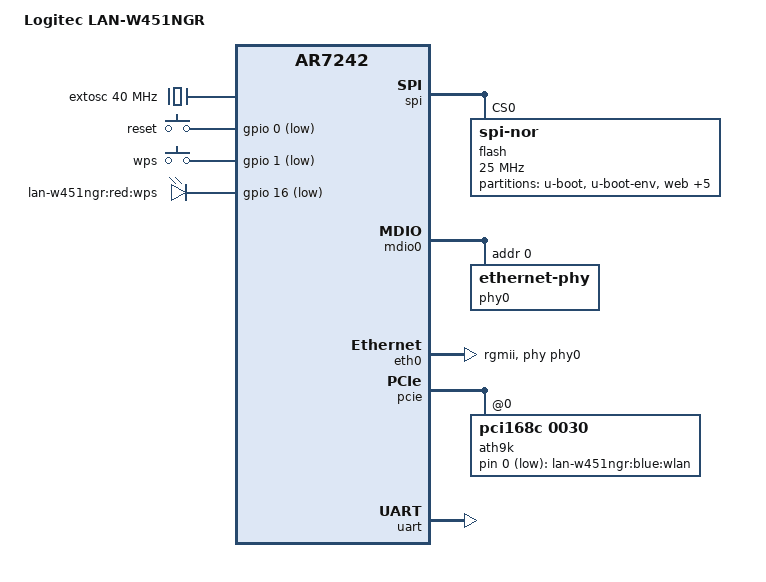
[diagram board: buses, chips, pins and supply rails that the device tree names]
// SPDX-License-Identifier: GPL-2.0-or-later OR MIT
/dts-v1/;

#include <dt-bindings/gpio/gpio.h>
#include <dt-bindings/input/input.h>

#include "ar7242.dtsi"

/ {
	compatible = "logitec,lan-w451ngr", "qca,ar7242";
	model = "Logitec LAN-W451NGR";

	aliases {
		led-boot = &wps;
		led-failsafe = &wps;
		led-upgrade = &wps;
	};

	extosc: ref {
		compatible = "fixed-clock";
		#clock-cells = <0>;
		clock-frequency = <40000000>;
	};

	keys {
		compatible = "gpio-keys";

		reset {
			label = "reset";
			linux,code = <KEY_RESTART>;
			gpios = <&gpio 0 GPIO_ACTIVE_LOW>;
			debounce-interval = <60>;
		};

		wps {
			label = "wps";
			linux,code = <KEY_WPS_BUTTON>;
			gpios = <&gpio 1 GPIO_ACTIVE_LOW>;
			debounce-interval = <60>;
		};

		/* slide-switch GPIO not found */
	};

	leds {
		compatible = "gpio-leds";
		pinctrl-names = "default";
		pinctrl-0 = <&i2s_bitclk_disable_pin>;

		wps: wps {
			label = "lan-w451ngr:red:wps";
			gpios = <&gpio 16 GPIO_ACTIVE_LOW>;
		};
	};

	ath9k-leds {
		compatible = "gpio-leds";

		wlan {
			label = "lan-w451ngr:blue:wlan";
			gpios = <&ath9k 0 GPIO_ACTIVE_LOW>;
		};
	};
};

&spi {
	status = "okay";
	num-cs = <1>;

	flash@0 {
		compatible = "jedec,spi-nor";
		reg = <0>;
		spi-max-frequency = <25000000>;

		partitions {
			compatible = "fixed-partitions";
			#address-cells = <1>;
			#size-cells = <1>;

			partition@0 {
				label = "u-boot";
				reg = <0x000000 0x040000>;
				read-only;
			};

			partition@40000 {
				label = "u-boot-env";
				reg = <0x040000 0x010000>;
//				read-only;
			};

			partition@50000 {
				label = "web";
				reg = <0x050000 0x030000>;
				read-only;
			};

			partition@80000 {
				label = "COMPCS";
				reg = <0x080000 0x010000>;
//				read-only;
			};

			partition@90000 {
				label = "COMPDS";
				reg = <0x090000 0x010000>;
//				read-only;
			};

			partition@a0000 {
				compatible = "denx,uimage";
				label = "firmware";
				reg = <0x0a0000 0x740000>;
			};

			partition@7e0000 {
				label = "NVRAM";
				reg = <0x7e0000 0x010000>;
				read-only;
			};

			partition@7f0000 {
				label = "ART";
				reg = <0x7f0000 0x010000>;
				read-only;
			};
		};
	};
};

&mdio0 {
	status = "okay";

	phy0: ethernet-phy@0 {
		reg = <0>;
		phy-mode = "rgmii";

		qca,ar8327-initvals = <
			0x04 0x07600000 /* PORT0 PAD MODE CTRL */
			0x50 0xffb7ffb7 /* LED_CTRL0 */
			0x54 0xffb7ffb7 /* LED_CTRL1 */
			0x58 0xffb7ffb7 /* LED_CTRL2 */
			0x5c 0x03ffff00 /* LED_CTRL3 */
			0x7c 0x0000007e /* PORT0_STATUS */
		>;
	};
};

&eth0 {
	status = "okay";

	pll-data = <0x1c000000 0x00000101 0x00001616>;

	phy-mode = "rgmii";
	phy-handle = <&phy0>;
};

&pinmux {
	i2s_bitclk_disable_pin: pinmux_i2s_bitclk_disable_pin {
		pinctrl-single,bits = <0x0 0x0 0x40>;
	};
};

&pcie {
	status = "okay";

	ath9k: wifi@0,0 {
		compatible = "pci168c,0030";
		reg = <0x0000 0 0 0 0>;
		qca,no-eeprom;
		#gpio-cells = <2>;
		gpio-controller;
	};
};

&pll {
	clocks = <&extosc>;
};

&uart {
	status = "okay";
};
